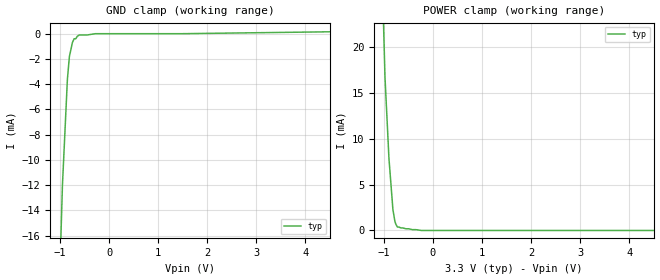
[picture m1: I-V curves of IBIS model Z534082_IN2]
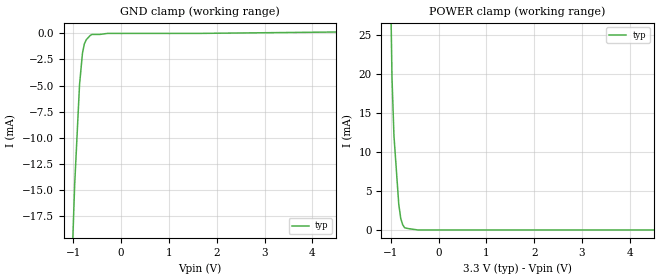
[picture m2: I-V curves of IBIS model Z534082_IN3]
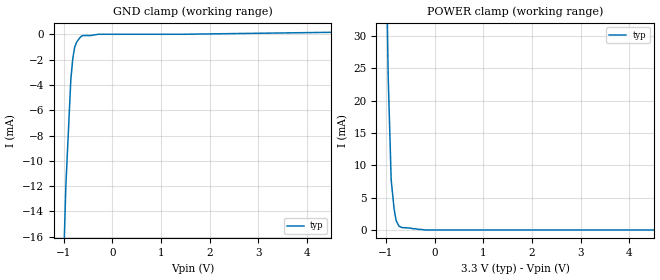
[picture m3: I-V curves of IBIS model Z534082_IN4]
| YOU ARE ONLY AUTHORIZED TO USE THIS SOFTWARE
| ACCORDING TO LICENSOR'S LICENSE RESTRICTIONS.
[IBIS Ver] 3.1
[File Name] mc100lvel38dw_pecl.ibs
[File Rev] 2.0
[Source] Measured and created by ICX Technology
[Date] Friday 7/14/00 9:08:21 AM
[Copyright]
| (C) COPYRIGHT 1993-2000
| MENTOR GRAPHICS CORPORATION
| ICX STANDARD LIBRARY, ICX PROJECT MODELING,
| ICX CUSTOM MODELING, ICX VENDOR MODEL
| ALL RIGHTS RESERVED.
| THE FOLLOWING ARE TRADEMARKS OR SERVICE MARKS OF
| MENTOR GRAPHICS CORPORATION:ICX (R), ICX STANDARD
| LIBRARY(R), ICX PROJECT MODELING(R), ICX CUSTOM
| MODELING(R), qualityIBIS(TM), MODELVIEWER(TM),
| AND MODELEDITOR(TM)
| ALL COPIES OF SOFTWARE, INCLUDING BUT NOT LIMITED TO
| ANY MODIFICATIONS, ENHANCEMENTS OR DERIVATIVE WORKS,
| MUST CONTAIN ALL MENTOR GRAPHICS CORPORATION'S
| NOTICES AND LEGENDS, INCLUDING THOSE EMBEDDED IN
| SOFTWARE AND THOSE AFFIXED TO SOFTWARE MEDIUM
| AND CONTAINER, AS RECEIVED FROM MENTOR GRAPHICS
| CORPORATION.
|  ZAP Model Builder 2.7
[Component] MC100LVEL38DW_PECL
[Manufacturer] OnSemiconductor
[Package]
| variable   typ   min   max
R_pkg  .178ohms NA NA
L_pkg  4.43nH NA NA
C_pkg  .62pF NA NA
[Pin] signal_name  model_name  R_pin  L_pin C_pin
1 VCC POWER .186 5.37n .68p
2 _EN Z534082_IN2 .182 4.89n .65p
3 DIV_SEL Z534082_IN3 .178 4.42n .62p
4 CLK Z534082_IN4 .174 3.96n .59p
5 _CLK Z534082_IN4 .17 3.51n .56p
6 VBB POWER .17 3.51n .56p
7 MR Z534082_IN7 .174 3.96n .59p
8 VCC POWER .178 4.42n .62p
9 Phase_Out Z534082_OUT9 .182 4.89n .65p
10 _Phase_Out Z534082_OUT9 .186 5.37n .68p
11 VEE POWER .186 5.37n .68p
12 _Q3 Z534082_OUT18 .182 4.89n .65p
13 Q3 Z534082_OUT13 .178 4.42n .62p
14 _Q2 Z534082_OUT18 .174 3.96n .59p
15 Q2 Z534082_OUT13 .17 3.51n .56p
16 _Q1 Z534082_OUT18 .17 3.51n .56p
17 Q1 Z534082_OUT13 .174 3.96n .59p
18 _Q0 Z534082_OUT18 .178 4.42n .62p
19 Q0 Z534082_OUT13 .182 4.89n .65p
20 VCC POWER .186 5.37n .68p
| Models and submodels in the file (7): Z534082_IN2 (Input_ECL), Z534082_IN3 (Input_ECL), Z534082_IN4 (Input_ECL), Z534082_IN7 (Input_ECL), Z534082_OUT13 (Output_ECL), Z534082_OUT18 (Output_ECL), Z534082_OUT9 (Output_ECL)
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| (C) COPYRIGHT 1993-2000
| MENTOR GRAPHICS CORPORATION
| ICX STANDARD LIBRARY, ICX PROJECT MODELING,
| ICX CUSTOM MODELING, ICX VENDOR MODEL
| ALL RIGHTS RESERVED.
| THE FOLLOWING ARE TRADEMARKS OR SERVICE MARKS OF
| MENTOR GRAPHICS CORPORATION:ICX (R), ICX STANDARD
| LIBRARY(R), ICX PROJECT MODELING(R), ICX CUSTOM
| MODELING(R), qualityIBIS(TM), MODELVIEWER(TM),
| AND MODELEDITOR(TM)
| ALL COPIES OF SOFTWARE, INCLUDING BUT NOT LIMITED TO
| ANY MODIFICATIONS, ENHANCEMENTS OR DERIVATIVE WORKS,
| MUST CONTAIN ALL MENTOR GRAPHICS CORPORATION'S
| NOTICES AND LEGENDS, INCLUDING THOSE EMBEDDED IN
| SOFTWARE AND THOSE AFFIXED TO SOFTWARE MEDIUM
| AND CONTAINER, AS RECEIVED FROM MENTOR GRAPHICS
| CORPORATION.
| Model Application Version 1.89 2/18/99.
[Model] Z534082_IN2
Model_type Input_ECL
Vinl = 2.115V
Vinh = 2.301V
C_comp 4.000pF NA NA
| variable typ   min   max
[Voltage Range] 3.300V NA NA
[GND Clamp Reference] 0.000V NA NA
[POWER Clamp Reference] 3.300V NA NA
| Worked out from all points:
|   GND clamp passes 1 mA (typ) near -0.77 V on its own axis
|   POWER clamp passes 1 mA (typ) near -0.77 V on its own axis
[GND Clamp]
-3.3V     -415.3mA   NA         NA
-1.053V   -25.2mA    NA         NA
-952mV    -12mA      NA         NA
-851mV    -3.6mA     NA         NA
-810mV    -1.8mA     NA         NA
-749mV    -700uA     NA         NA
-713.8mV  -400uA     NA         NA
-680.9mV  -400uA     NA         NA
-648mV    -200uA     NA         NA
-607.5mV  -100uA     NA         NA
-283.5mV  0A         NA         NA
6.6V      257uA      NA         NA
[POWER Clamp]
-3.3V     782.3mA    NA         NA
-1.058V   32.66mA    NA         NA
-977mV    16.76mA    NA         NA
-896mV    7.863mA    NA         NA
-815mV    2.267mA    NA         NA
-774mV    969.5uA    NA         NA
-723.5mV  373.6uA    NA         NA
-232mV    0A         NA         NA
6.6V      0A         NA         NA
| (C) COPYRIGHT 1993-2000
| MENTOR GRAPHICS CORPORATION
| ICX STANDARD LIBRARY, ICX PROJECT MODELING,
| ICX CUSTOM MODELING, ICX VENDOR MODEL
| ALL RIGHTS RESERVED.
| THE FOLLOWING ARE TRADEMARKS OR SERVICE MARKS OF
| MENTOR GRAPHICS CORPORATION:ICX (R), ICX STANDARD
| LIBRARY(R), ICX PROJECT MODELING(R), ICX CUSTOM
| MODELING(R), qualityIBIS(TM), MODELVIEWER(TM),
| AND MODELEDITOR(TM)
| ALL COPIES OF SOFTWARE, INCLUDING BUT NOT LIMITED TO
| ANY MODIFICATIONS, ENHANCEMENTS OR DERIVATIVE WORKS,
| MUST CONTAIN ALL MENTOR GRAPHICS CORPORATION'S
| NOTICES AND LEGENDS, INCLUDING THOSE EMBEDDED IN
| SOFTWARE AND THOSE AFFIXED TO SOFTWARE MEDIUM
| AND CONTAINER, AS RECEIVED FROM MENTOR GRAPHICS
| CORPORATION.
| Model Application Version 1.89 2/18/99.
[Model] Z534082_IN3
Model_type Input_ECL
Vinl = 2.115V
Vinh = 2.301V
C_comp 4.000pF NA NA
| variable typ   min   max
[Voltage Range] 3.300V NA NA
[GND Clamp Reference] 0.000V NA NA
[POWER Clamp Reference] 3.300V NA NA
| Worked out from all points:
|   GND clamp passes 1 mA (typ) near -0.77 V on its own axis
|   POWER clamp passes 1 mA (typ) near -0.77 V on its own axis
[GND Clamp]
-3.3V     -408mA     NA         NA
-1.054V   -25.3mA    NA         NA
-973mV    -14.5mA    NA         NA
-871mV    -4.9mA     NA         NA
-810mV    -1.9mA     NA         NA
-770mV    -1mA       NA         NA
-729mV    -600uA     NA         NA
-648mV    -200uA     NA         NA
-607.5mV  -100uA     NA         NA
-283.5mV  0A         NA         NA
1.632V    0A         NA         NA
6.6V      230.2uA    NA         NA
[POWER Clamp]
-3.3V     788.5mA    NA         NA
-1.139V   83.07mA    NA         NA
-977mV    19.58mA    NA         NA
-936mV    12.08mA    NA         NA
-835mV    3.284mA    NA         NA
-794mV    1.486mA    NA         NA
-754mV    687.8uA    NA         NA
-713mV    289.7uA    NA         NA
-434.7mV  0A         NA         NA
6.6V      0A         NA         NA
| (C) COPYRIGHT 1993-2000
| MENTOR GRAPHICS CORPORATION
| ICX STANDARD LIBRARY, ICX PROJECT MODELING,
| ICX CUSTOM MODELING, ICX VENDOR MODEL
| ALL RIGHTS RESERVED.
| THE FOLLOWING ARE TRADEMARKS OR SERVICE MARKS OF
| MENTOR GRAPHICS CORPORATION:ICX (R), ICX STANDARD
| LIBRARY(R), ICX PROJECT MODELING(R), ICX CUSTOM
| MODELING(R), qualityIBIS(TM), MODELVIEWER(TM),
| AND MODELEDITOR(TM)
| ALL COPIES OF SOFTWARE, INCLUDING BUT NOT LIMITED TO
| ANY MODIFICATIONS, ENHANCEMENTS OR DERIVATIVE WORKS,
| MUST CONTAIN ALL MENTOR GRAPHICS CORPORATION'S
| NOTICES AND LEGENDS, INCLUDING THOSE EMBEDDED IN
| SOFTWARE AND THOSE AFFIXED TO SOFTWARE MEDIUM
| AND CONTAINER, AS RECEIVED FROM MENTOR GRAPHICS
| CORPORATION.
| Model Application Version 1.89 2/18/99.
[Model] Z534082_IN4
Model_type Input_ECL
Vinl = 2.115V
Vinh = 2.301V
C_comp 4.000pF NA NA
| variable typ   min   max
[Voltage Range] 3.300V NA NA
[GND Clamp Reference] 0.000V NA NA
[POWER Clamp Reference] 3.300V NA NA
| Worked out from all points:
|   GND clamp passes 1 mA (typ) near -0.77 V on its own axis
|   POWER clamp passes 1 mA (typ) near -0.76 V on its own axis
[GND Clamp]
-3.3V     -405.6mA   NA         NA
-1.074V   -27.8mA    NA         NA
-952mV    -11.9mA    NA         NA
-851mV    -3.6mA     NA         NA
-810mV    -1.9mA     NA         NA
-770mV    -1mA       NA         NA
-729mV    -600uA     NA         NA
-648mV    -200uA     NA         NA
-607.5mV  -100uA     NA         NA
-283.5mV  0A         NA         NA
1.449V    0A         NA         NA
6.6V      260.7uA    NA         NA
[POWER Clamp]
-3.3V     728.7mA    NA         NA
-1.037V   62.35mA    NA         NA
-956mV    23.66mA    NA         NA
-895mV    7.761mA    NA         NA
-835mV    3.264mA    NA         NA
-794mV    1.466mA    NA         NA
-733mV    569.2uA    NA         NA
-673mV    372.3uA    NA         NA
-191.3mV  0A         NA         NA
6.6V      0A         NA         NA
